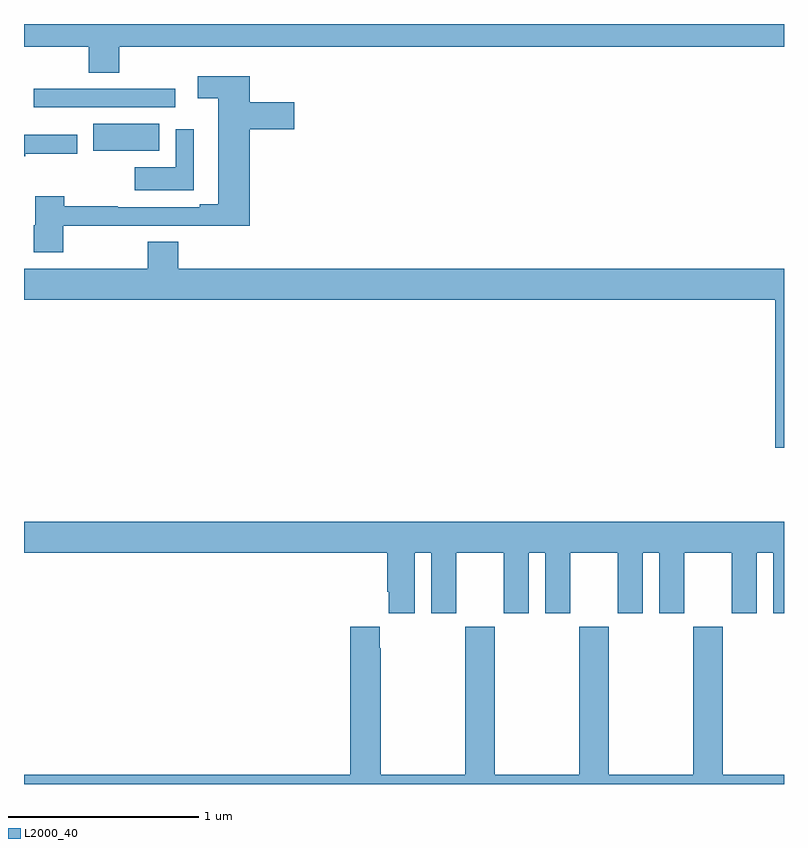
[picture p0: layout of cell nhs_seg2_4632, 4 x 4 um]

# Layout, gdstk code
import gdstk
lib = gdstk.Library(unit=1e-6, precision=1e-09)
def R(c, l, rs):  # rectangles x0, y0, x1, y1
    for r in rs: c.add(gdstk.rectangle(r[:2], r[2:], *l))
def P(c, l, *ps):  # polygons
    for p in ps: c.add(gdstk.Polygon(p, *l))
L2000_40 = (2000, 40)

nhs_seg2_4632 = lib.new_cell('nhs_seg2_4632')
R(nhs_seg2_4632, L2000_40, [(363.364,603.134,363.713,603.274)])
P(nhs_seg2_4632, L2000_40, [(363.501,603.68),(367,603.68),(367,603.8),(363,603.8),(363,603.68),(363.341,603.68),(363.341,603.544),(363.501,603.544)],
  [(363.207,602.737),(363.563,602.737),(363.563,602.739),(363.926,602.739),(363.926,602.737),(364.187,602.737),(364.187,603.245),(364.423,603.245),(364.423,603.387),(364.187,603.387),(364.187,603.526),(363.915,603.526),(363.915,603.409),(364.022,603.409),(364.022,602.851),(363.926,602.851),(363.926,602.835),(363.494,602.835),(363.494,602.84),(363.212,602.84),(363.212,602.893),(363.059,602.893),(363.059,602.742),(363.052,602.742),(363.052,602.598),(363.207,602.598)],
  [(363.27,603.363),(363.796,603.363),(363.796,603.459),(363.051,603.459),(363.051,603.362),(363.27,603.362)],
  [(363.894,603.247),(363.798,603.247),(363.798,603.046),(363.582,603.046),(363.582,602.925),(363.894,602.925)],
  [(363.007,603.118),(363.279,603.118),(363.279,603.217),(363,603.217),(363,603.104),(363.007,603.104)],
  [(367,602.512),(363.812,602.512),(363.812,602.654),(363.652,602.654),(363.652,602.512),(363,602.512),(363,602.348),(366.953,602.348),(366.953,601.569),(367,601.569)],
  [(365.056,601.016),(365.144,601.016),(365.144,600.699),(365.275,600.699),(365.275,601.016),(365.525,601.016),(365.525,600.699),(365.656,600.699),(365.656,601.016),(365.744,601.016),(365.744,600.699),(365.875,600.699),(365.875,601.016),(366.125,601.016),(366.125,600.699),(366.256,600.699),(366.256,601.016),(366.344,601.016),(366.344,600.699),(366.475,600.699),(366.475,601.016),(366.725,601.016),(366.725,600.699),(366.856,600.699),(366.856,601.016),(366.944,601.016),(366.944,600.699),(367,600.699),(367,601.18),(363,601.18),(363,601.016),(364.913,601.016),(364.913,600.811),(364.919,600.811),(364.919,600.699),(365.056,600.699)],
  [(367,599.848),(366.678,599.848),(366.678,600.628),(366.523,600.628),(366.523,599.848),(366.078,599.848),(366.078,600.628),(365.923,600.628),(365.923,599.848),(365.478,599.848),(365.478,600.628),(365.323,600.628),(365.323,599.848),(364.878,599.848),(364.878,600.515),(364.873,600.515),(364.873,600.628),(364.718,600.628),(364.718,599.848),(363,599.848),(363,599.8),(367,599.8)])

lib.write_gds('nhs_seg2_4632.gds')
